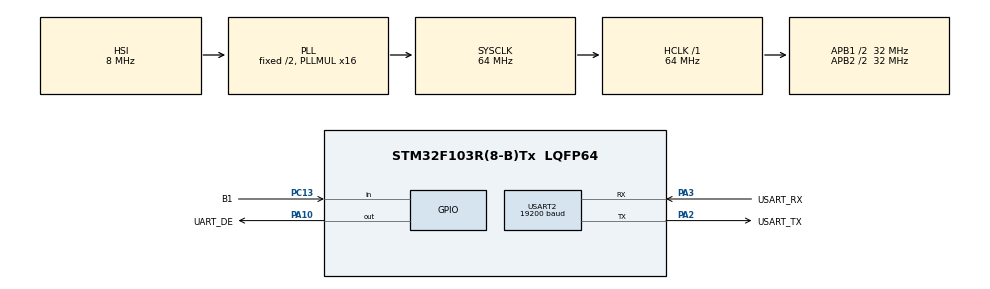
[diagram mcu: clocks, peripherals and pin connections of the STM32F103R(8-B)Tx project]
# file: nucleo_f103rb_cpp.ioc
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Mcu.Family=STM32F1
Mcu.Name=STM32F103R(8-B)Tx
Mcu.Package=LQFP64
NVIC.PriorityGroup=NVIC_PRIORITYGROUP_4
NVIC.TIM3_IRQn=true\:0\:0\:false\:false\:true\:true\:true\:true
NVIC.USART2_IRQn=true\:0\:0\:false\:false\:true\:true\:true\:true
PA10.GPIO_Label=UART_DE
PA10.Signal=GPIO_Output
PA13.GPIO_Label=TMS
PA13.Mode=Serial_Wire
PA13.Signal=SYS_JTMS-SWDIO
PA14.GPIO_Label=TCK
PA14.Mode=Serial_Wire
PA14.Signal=SYS_JTCK-SWCLK
PA2.GPIO_Label=USART_TX
PA2.GPIO_Mode=GPIO_MODE_AF_PP
PA2.GPIO_PuPd=GPIO_NOPULL
PA2.GPIO_Speed=GPIO_SPEED_FREQ_LOW
PA2.Mode=Asynchronous
PA2.Signal=USART2_TX
PA3.GPIO_Label=USART_RX
PA3.GPIO_Mode=GPIO_MODE_AF_PP
PA3.GPIO_PuPd=GPIO_NOPULL
PA3.GPIO_Speed=GPIO_SPEED_FREQ_LOW
PA3.Mode=Asynchronous
PA3.Signal=USART2_RX
PC13-TAMPER-RTC.GPIO_Label=B1
PC13-TAMPER-RTC.Signal=GPIO_Input
PC14-OSC32_IN.Signal=RCC_OSC32_IN
PC15-OSC32_OUT.Signal=RCC_OSC32_OUT
PD0-OSC_IN.Signal=RCC_OSC_IN
PD1-OSC_OUT.Signal=RCC_OSC_OUT
ProjectManager.HeapSize=0x200
ProjectManager.StackSize=0x400
ProjectManager.TargetToolchain=STM32CubeIDE
RCC.ADCPresc=RCC_ADCPCLK2_DIV4
RCC.AHBFreq_Value=64000000
RCC.APB1CLKDivider=RCC_HCLK_DIV2
RCC.APB1Freq_Value=32000000
RCC.APB1TimFreq_Value=64000000
RCC.APB2CLKDivider=RCC_HCLK_DIV2
RCC.APB2Freq_Value=32000000
RCC.APB2TimFreq_Value=64000000
RCC.HCLKFreq_Value=64000000
RCC.PLLMUL=RCC_PLL_MUL16
RCC.SYSCLKFreq_VALUE=64000000
RCC.SYSCLKSource=RCC_SYSCLKSOURCE_PLLCLK
RCC.USBFreq_Value=64000000
TIM3.Period=49
TIM3.Prescaler=63
TIM3.TIM_MasterOutputTrigger=TIM_TRGO_RESET
USART2.BaudRate=19200
USART2.VirtualMode=VM_ASYNC
VP_TIM3_VS_ClockSourceINT.Mode=Internal
board=NUCLEO-F103RB

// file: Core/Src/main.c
/* USER CODE BEGIN Header */
/**
  ******************************************************************************
  * @file           : main.c
  * @brief          : Main program body
  ******************************************************************************
  * @attention
  *
  * Copyright (c) 2026 STMicroelectronics.
  * All rights reserved.
  *
  * This software is licensed under terms that can be found in the LICENSE file
  * in the root directory of this software component.
  * If no LICENSE file comes with this software, it is provided AS-IS.
  *
  ******************************************************************************
  */
/* USER CODE END Header */
#include "main.h"

/* USER CODE BEGIN Includes */

#include <string.h>
#include "simple_math.h"
#include "LabWorks.h"
#include "AdDaFunctions.h"
#include "SpiFunctions.h"
#include "I2cFunctions.h"
#include "UsartFunctions.h"
#include "mb.h"

/* USER CODE END Includes */

/* USER CODE BEGIN PD */

#define SLAVE_ADDRESS 		0x01

#define REG_HOLDING_START	1
#define REG_HOLDING_NREGS	20

/* USER CODE END PD */

TIM_HandleTypeDef htim3;

UART_HandleTypeDef huart2;

eMBErrorCode estatus;

/* USER CODE BEGIN PV */

static USHORT usRegHoldingBuf[REG_HOLDING_NREGS];

ULONG usBaudRate = 19200;

/* USER CODE END PV */

void SystemClock_Config(void);
static void MX_GPIO_Init(void);
static void MX_USART2_UART_Init(void);
static void MX_TIM3_Init(void);

/* USER CODE BEGIN 0 */

void InitializeModbus()
{
	estatus = eMBInit(MB_RTU, SLAVE_ADDRESS, 0, usBaudRate, MB_PAR_NONE, 1);

	if(estatus == MB_ENOERR)
	{
		estatus = eMBEnable();
	}
	else
	{
		while(1);
	}
}

void InitializeBuffer()
{
	for(int i = 0; i < REG_HOLDING_NREGS; i++)
	{
		switch (i)
		{
			case 4:
				usRegHoldingBuf[i] = 1773;
				break;
			case 9:
				usRegHoldingBuf[i] = 995;
				break;
			case 14:
				usRegHoldingBuf[i] = 3981;
				break;
			case 19:
				usRegHoldingBuf[i] = 451;
				break;
			default:
				usRegHoldingBuf[i] = 0;
				break;
		}
	}
}

void HandleModbus()
{
	eMBPoll();
	usRegHoldingBuf[0] = (USHORT)(HAL_GetTick() & 0x0000FFFF);
	usRegHoldingBuf[1]++;
}

eMBErrorCode eMBRegHoldingCB(UCHAR * pucRegBuffer, USHORT usAddress, USHORT usNRegs, eMBRegisterMode eMode)
{
	eMBErrorCode eStatus = MB_ENOERR;
	int iRegIndex;

	//Modbus фдресация начинается с 1, а элементы в массиве с 0. Вычитаем 1 из адреса
	usAddress--;

	//Проверяем, что запрошенный адрес находится в нашем диапазоне
	if((usAddress >= 0) && (usAddress + usNRegs <= REG_HOLDING_START + REG_HOLDING_NREGS))
	{
		iRegIndex = (int)usAddress;

		switch(eMode)
		{
		//Мастер ЧИТАЕТ
		case MB_REG_READ:
			while(usNRegs > 0)
			{
				*pucRegBuffer++ = (UCHAR)(usRegHoldingBuf[iRegIndex] >> 8);
				*pucRegBuffer++ = (UCHAR)(usRegHoldingBuf[iRegIndex] & 0xFF);
				iRegIndex++;
				usNRegs--;
			}
			break;

		//Мастер ЗАПИСЫВАЕТ
		case MB_REG_WRITE:
			while(usNRegs > 0)
			{
				usRegHoldingBuf[iRegIndex] = (USHORT)(*pucRegBuffer++ << 8);
				usRegHoldingBuf[iRegIndex] |= (USHORT)(*pucRegBuffer++);
				iRegIndex++;
				usNRegs--;
			}
			break;
		}
	}
	else
	{
		eStatus = MB_ENOREG;//Ошибка, такого регистра нет
	}

	return eStatus;
}

eMBErrorCode eMBRegInputCB( UCHAR * pucRegBuffer, USHORT usAddress, USHORT usNRegs )
{
	return MB_ENOERR;
}

eMBErrorCode eMBRegCoilsCB( UCHAR * pucRegBuffer, USHORT usAddress, USHORT usNCoils, eMBRegisterMode eMode )
{
	return MB_ENOERR;
}

eMBErrorCode eMBRegDiscreteCB( UCHAR * pucRegBuffer, USHORT usAddress, USHORT usNDiscrete )
{
	return MB_ENOERR;
}

/* USER CODE END 0 */

int main(void)
{

  /* MCU Configuration--------------------------------------------------------*/

  /* Reset of all peripherals, Initializes the Flash interface and the Systick. */
  HAL_Init();

  /* Configure the system clock */
  SystemClock_Config();

  /* Initialize all configured peripherals */
  MX_GPIO_Init();
  MX_USART2_UART_Init();
  MX_TIM3_Init();
  /* USER CODE BEGIN 2 */

  InitializeModbus();
  InitializeBuffer();

  /* USER CODE END 2 */

  /* Infinite loop */
  /* USER CODE BEGIN WHILE */
  while (1)
  {
	  HandleModbus();
    /* USER CODE END WHILE */

  }
}

void SystemClock_Config(void)
{
  RCC_OscInitTypeDef RCC_OscInitStruct = {0};
  RCC_ClkInitTypeDef RCC_ClkInitStruct = {0};

  /** Initializes the RCC Oscillators according to the specified parameters
  * in the RCC_OscInitTypeDef structure.
  */
  RCC_OscInitStruct.OscillatorType = RCC_OSCILLATORTYPE_HSI;
  RCC_OscInitStruct.HSIState = RCC_HSI_ON;
  RCC_OscInitStruct.HSICalibrationValue = RCC_HSICALIBRATION_DEFAULT;
  RCC_OscInitStruct.PLL.PLLState = RCC_PLL_ON;
  RCC_OscInitStruct.PLL.PLLSource = RCC_PLLSOURCE_HSI_DIV2;
  RCC_OscInitStruct.PLL.PLLMUL = RCC_PLL_MUL16;
  if (HAL_RCC_OscConfig(&RCC_OscInitStruct) != HAL_OK)
  {
    Error_Handler();
  }

  /** Initializes the CPU, AHB and APB buses clocks
  */
  RCC_ClkInitStruct.ClockType = RCC_CLOCKTYPE_HCLK|RCC_CLOCKTYPE_SYSCLK
                              |RCC_CLOCKTYPE_PCLK1|RCC_CLOCKTYPE_PCLK2;
  RCC_ClkInitStruct.SYSCLKSource = RCC_SYSCLKSOURCE_PLLCLK;
  RCC_ClkInitStruct.AHBCLKDivider = RCC_SYSCLK_DIV1;
  RCC_ClkInitStruct.APB1CLKDivider = RCC_HCLK_DIV2;
  RCC_ClkInitStruct.APB2CLKDivider = RCC_HCLK_DIV2;

  if (HAL_RCC_ClockConfig(&RCC_ClkInitStruct, FLASH_LATENCY_2) != HAL_OK)
  {
    Error_Handler();
  }
}

static void MX_TIM3_Init(void)
{

  TIM_ClockConfigTypeDef sClockSourceConfig = {0};
  TIM_MasterConfigTypeDef sMasterConfig = {0};

  htim3.Instance = TIM3;
  htim3.Init.Prescaler = 63;
  htim3.Init.CounterMode = TIM_COUNTERMODE_UP;
  htim3.Init.Period = 49;
  htim3.Init.ClockDivision = TIM_CLOCKDIVISION_DIV1;
  htim3.Init.AutoReloadPreload = TIM_AUTORELOAD_PRELOAD_DISABLE;
  if (HAL_TIM_Base_Init(&htim3) != HAL_OK)
  {
    Error_Handler();
  }
  sClockSourceConfig.ClockSource = TIM_CLOCKSOURCE_INTERNAL;
  if (HAL_TIM_ConfigClockSource(&htim3, &sClockSourceConfig) != HAL_OK)
  {
    Error_Handler();
  }
  sMasterConfig.MasterOutputTrigger = TIM_TRGO_RESET;
  sMasterConfig.MasterSlaveMode = TIM_MASTERSLAVEMODE_DISABLE;
  if (HAL_TIMEx_MasterConfigSynchronization(&htim3, &sMasterConfig) != HAL_OK)
  {
    Error_Handler();
  }

}

static void MX_USART2_UART_Init(void)
{

  huart2.Instance = USART2;
  huart2.Init.BaudRate = 19200;
  huart2.Init.WordLength = UART_WORDLENGTH_8B;
  huart2.Init.StopBits = UART_STOPBITS_1;
  huart2.Init.Parity = UART_PARITY_NONE;
  huart2.Init.Mode = UART_MODE_TX_RX;
  huart2.Init.HwFlowCtl = UART_HWCONTROL_NONE;
  huart2.Init.OverSampling = UART_OVERSAMPLING_16;
  if (HAL_UART_Init(&huart2) != HAL_OK)
  {
    Error_Handler();
  }

}

static void MX_GPIO_Init(void)
{
  GPIO_InitTypeDef GPIO_InitStruct = {0};

  /* GPIO Ports Clock Enable */
  __HAL_RCC_GPIOC_CLK_ENABLE();
  __HAL_RCC_GPIOD_CLK_ENABLE();
  __HAL_RCC_GPIOA_CLK_ENABLE();

  /*Configure GPIO pin Output Level */
  HAL_GPIO_WritePin(UART_DE_GPIO_Port, UART_DE_Pin, GPIO_PIN_RESET);

  /*Configure GPIO pin : B1_Pin */
  GPIO_InitStruct.Pin = B1_Pin;
  GPIO_InitStruct.Mode = GPIO_MODE_INPUT;
  GPIO_InitStruct.Pull = GPIO_NOPULL;
  HAL_GPIO_Init(B1_GPIO_Port, &GPIO_InitStruct);

  /*Configure GPIO pin : UART_DE_Pin */
  GPIO_InitStruct.Pin = UART_DE_Pin;
  GPIO_InitStruct.Mode = GPIO_MODE_OUTPUT_PP;
  GPIO_InitStruct.Pull = GPIO_NOPULL;
  GPIO_InitStruct.Speed = GPIO_SPEED_FREQ_LOW;
  HAL_GPIO_Init(UART_DE_GPIO_Port, &GPIO_InitStruct);

}

void Error_Handler(void)
{
  __disable_irq();
  while (1)
  {
  }
}
